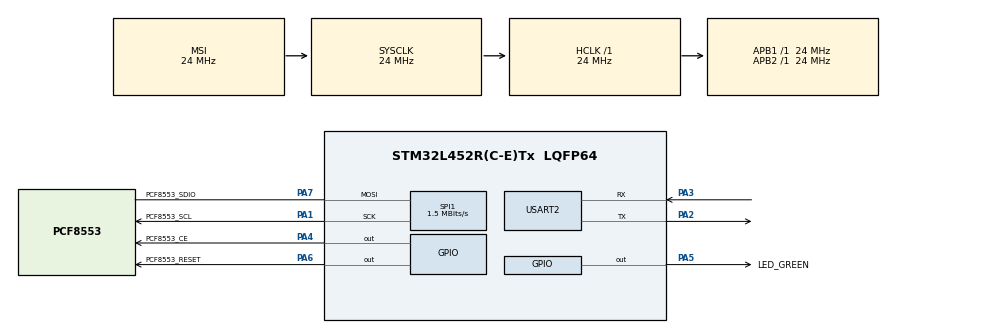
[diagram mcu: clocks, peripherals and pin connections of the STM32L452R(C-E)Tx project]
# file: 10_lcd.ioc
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Mcu.Family=STM32L4
Mcu.Name=STM32L452R(C-E)Tx
Mcu.Package=LQFP64
NVIC.PriorityGroup=NVIC_PRIORITYGROUP_4
NVIC.RTC_WKUP_IRQn=true\:0\:0\:false\:false\:true\:true\:true\:true
PA1.GPIO_Label=PCF8553_SCL
PA1.GPIO_Mode=GPIO_MODE_AF_PP
PA1.GPIO_PuPd=GPIO_NOPULL
PA1.GPIO_Speed=GPIO_SPEED_FREQ_VERY_HIGH
PA1.Mode=Simplex_Bidirectional_Master
PA1.Signal=SPI1_SCK
PA13\ (JTMS/SWDIO).Mode=Trace_Asynchronous_SW
PA13\ (JTMS/SWDIO).Signal=SYS_JTMS-SWDIO
PA14\ (JTCK/SWCLK).Mode=Trace_Asynchronous_SW
PA14\ (JTCK/SWCLK).Signal=SYS_JTCK-SWCLK
PA2.Mode=Asynchronous
PA2.Signal=USART2_TX
PA3.Mode=Asynchronous
PA3.Signal=USART2_RX
PA4.GPIO_Label=PCF8553_CE
PA4.Signal=GPIO_Output
PA5.GPIO_Label=LED_GREEN
PA5.Signal=GPIO_Output
PA6.GPIO_Label=PCF8553_RESET
PA6.Signal=GPIO_Output
PA7.GPIO_Label=PCF8553_SDIO
PA7.GPIO_Mode=GPIO_MODE_AF_PP
PA7.GPIO_PuPd=GPIO_NOPULL
PA7.GPIO_Speed=GPIO_SPEED_FREQ_VERY_HIGH
PA7.Mode=Simplex_Bidirectional_Master
PA7.Signal=SPI1_MOSI
PB3\ (JTDO/TRACESWO).Mode=Trace_Asynchronous_SW
PB3\ (JTDO/TRACESWO).Signal=SYS_JTDO-SWO
PC14-OSC32_IN\ (PC14).Mode=LSE-External-Oscillator
PC14-OSC32_IN\ (PC14).Signal=RCC_OSC32_IN
PC15-OSC32_OUT\ (PC15).Mode=LSE-External-Oscillator
PC15-OSC32_OUT\ (PC15).Signal=RCC_OSC32_OUT
ProjectManager.HeapSize=0x200
ProjectManager.StackSize=0x400
ProjectManager.TargetToolchain=STM32CubeIDE
RCC.ADCFreq_Value=96000000
RCC.AHBFreq_Value=24000000
RCC.APB1Freq_Value=24000000
RCC.APB1TimFreq_Value=24000000
RCC.APB2Freq_Value=24000000
RCC.APB2TimFreq_Value=24000000
RCC.CortexFreq_Value=24000000
RCC.HCLKFreq_Value=24000000
RCC.HSE_VALUE=8000000
RCC.HSI48_VALUE=48000000
RCC.HSI_VALUE=16000000
RCC.MSIClockRange=RCC_MSIRANGE_9
RCC.MSI_VALUE=24000000
RCC.PWR_Regulator_Voltage_Scale=PWR_REGULATOR_VOLTAGE_SCALE2
RCC.SYSCLKFreq_VALUE=24000000
RCC.USBFreq_Value=96000000
RCC.VCOOutputFreq_Value=192000000
RTC.WakeUpClock-WakeUp=RTC_WAKEUPCLOCK_RTCCLK_DIV16
RTC.WakeUpCounter-WakeUp=2048
SPI1.BaudRatePrescaler=SPI_BAUDRATEPRESCALER_16
SPI1.CalculateBaudRate=1.5 MBits/s
SPI1.DataSize=SPI_DATASIZE_8BIT
SPI1.Direction=SPI_DIRECTION_1LINE
SPI1.Mode=SPI_MODE_MASTER
SPI1.NSSPMode=SPI_NSS_PULSE_DISABLE
SPI1.VirtualType=VM_MASTER
TIM16.Prescaler=24-1
USART2.VirtualMode-Asynchronous=VM_ASYNC
VP_RTC_VS_RTC_Activate.Mode=RTC_Enabled
VP_RTC_VS_RTC_WakeUp_intern.Mode=WakeUp
VP_TIM16_VS_ClockSourceINT.Mode=Enable_Timer
board=custom

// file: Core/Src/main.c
/* USER CODE BEGIN Header */
/**
 ******************************************************************************
 * @file           : main.c
 * @brief          : Main program body
 ******************************************************************************
 * @attention
 *
 * Autor: FLOWMEET LLC
 *
 * Enero 6 2023
 *
 * Luego de crear el driver PCF8553, el modulo LCD y la API del modulo de LCD,
 * se creo este proyecto, iniciando el control de versiones, se crearon casos
 * de testeo de una manera rudimentaria, algo a a mejorar con tecnicad TDD, por
 * ahora es lo que tenemos, al corregir bugs o agregar funcionalidades de deben
 * comprobar que los casos de testeo sigan "pasando", y si es necesario hay que
 * agregar nuevos.
 *
 ******************************************************************************
 */
/* USER CODE END Header */
#include "main.h"

/* USER CODE BEGIN Includes */
#include "stdio.h"

/*
 * Solamente lcd_modeule deberi ser usada como API
 */
#include "../../../fm_lcd/pcf8553.h"
#include "../../../fm_lcd/lcd.h"
#include "../../../fm_lcd/lcd_module.h"

/* USER CODE END Includes */

RTC_HandleTypeDef hrtc;

SPI_HandleTypeDef hspi1;

TIM_HandleTypeDef htim16;

UART_HandleTypeDef huart2;

/* USER CODE BEGIN PV */
uint32_t time_start = 0;
uint32_t time_end = 0;
uint32_t time_delta = 0;

/* USER CODE END PV */

void SystemClock_Config(void);
static void MX_GPIO_Init(void);
static void MX_SPI1_Init(void);
static void MX_RTC_Init(void);
static void MX_TIM16_Init(void);
static void MX_USART2_UART_Init(void);

int main(void)
{
  /* USER CODE BEGIN 1 */
	char msg_0[20];
	char msg_1[20];
	uint8_t test = 2;

  /* USER CODE END 1 */

  /* MCU Configuration--------------------------------------------------------*/

  /* Reset of all peripherals, Initializes the Flash interface and the Systick. */
  HAL_Init();

  /* Configure the system clock */
  SystemClock_Config();

  /* Initialize all configured peripherals */
  MX_GPIO_Init();
  MX_SPI1_Init();
  MX_RTC_Init();
  MX_TIM16_Init();
  MX_USART2_UART_Init();

  /* Infinite loop */
  /* USER CODE BEGIN WHILE */

	/*
	 * AL iniciar el modulo se encienden todos los segmentos.
	 * Mantengo 1 segundo esta situacion antes de apagarlos.
	 */
	lcd_module_init();
	HAL_Delay(1000);
	pcf8553_write_all(0X00);

	HAL_RTCEx_SetWakeUpTimer_IT(&hrtc, 4096, RTC_WAKEUPCLOCK_RTCCLK_DIV16);
	HAL_TIM_Base_Start(&htim16);

	while (1)
	{
		switch (test)
		{
			/*
			 * Incremnento dos condadores, muestro cada uno en la primera
			 * y segunda linea del LCD
			 */
			case 1:
				lcd_module_puts(msg_0, sizeof(msg_0), LCD_ROW_0);
				lcd_module_puts(msg_1, sizeof(msg_1), LCD_ROW_1);
				lcd_module_refresh();
				time_start++;
				time_end++;
				HAL_Delay(1000);
			break;
				/*
				 * Se mide la costo en micro-segundos para imprimir ambas lineas del
				 * LCD.
				 * En la linea 1 se imprime el valor que tiene el timer 6 al inicio
				 * En la linea 2 se imprimen los micro-segundos consumidos.
				 */
			case 2:

				time_start = __HAL_TIM_GET_COUNTER(&htim16);

				snprintf(msg_0, sizeof(msg_0), "%08lu", time_start);
				snprintf(msg_1, sizeof(msg_1), "%07lu", time_delta);

				lcd_module_puts(msg_0, sizeof(msg_0), LCD_ROW_0);
				lcd_module_puts(msg_1, sizeof(msg_1), LCD_ROW_1);

				lcd_module_refresh();

				time_end = __HAL_TIM_GET_COUNTER(&htim16);
				time_delta = time_end - time_start;

				HAL_SuspendTick();

				/*
				 * Ingrea en stop mode 1
				 */
				HAL_PWREx_EnterSTOP2Mode(PWR_STOPENTRY_WFI); // stop1 mode

				/*
				 * Al salir del modo de bajo consumo hay que volver a configurar el clock
				 */
				SystemClock_Config();

				HAL_ResumeTick();
			break;
			default:
			break;
		}

    /* USER CODE END WHILE */

	}
}

void SystemClock_Config(void)
{
  RCC_OscInitTypeDef RCC_OscInitStruct = {0};
  RCC_ClkInitTypeDef RCC_ClkInitStruct = {0};

  /** Configure the main internal regulator output voltage
  */
  if (HAL_PWREx_ControlVoltageScaling(PWR_REGULATOR_VOLTAGE_SCALE2) != HAL_OK)
  {
    Error_Handler();
  }

  /** Configure LSE Drive Capability
  */
  HAL_PWR_EnableBkUpAccess();
  __HAL_RCC_LSEDRIVE_CONFIG(RCC_LSEDRIVE_LOW);

  /** Initializes the RCC Oscillators according to the specified parameters
  * in the RCC_OscInitTypeDef structure.
  */
  RCC_OscInitStruct.OscillatorType = RCC_OSCILLATORTYPE_LSI|RCC_OSCILLATORTYPE_LSE
                              |RCC_OSCILLATORTYPE_MSI;
  RCC_OscInitStruct.LSEState = RCC_LSE_ON;
  RCC_OscInitStruct.LSIState = RCC_LSI_ON;
  RCC_OscInitStruct.MSIState = RCC_MSI_ON;
  RCC_OscInitStruct.MSICalibrationValue = 0;
  RCC_OscInitStruct.MSIClockRange = RCC_MSIRANGE_9;
  RCC_OscInitStruct.PLL.PLLState = RCC_PLL_NONE;
  if (HAL_RCC_OscConfig(&RCC_OscInitStruct) != HAL_OK)
  {
    Error_Handler();
  }

  /** Initializes the CPU, AHB and APB buses clocks
  */
  RCC_ClkInitStruct.ClockType = RCC_CLOCKTYPE_HCLK|RCC_CLOCKTYPE_SYSCLK
                              |RCC_CLOCKTYPE_PCLK1|RCC_CLOCKTYPE_PCLK2;
  RCC_ClkInitStruct.SYSCLKSource = RCC_SYSCLKSOURCE_MSI;
  RCC_ClkInitStruct.AHBCLKDivider = RCC_SYSCLK_DIV1;
  RCC_ClkInitStruct.APB1CLKDivider = RCC_HCLK_DIV1;
  RCC_ClkInitStruct.APB2CLKDivider = RCC_HCLK_DIV1;

  if (HAL_RCC_ClockConfig(&RCC_ClkInitStruct, FLASH_LATENCY_4) != HAL_OK)
  {
    Error_Handler();
  }

  /** Enable MSI Auto calibration
  */
  HAL_RCCEx_EnableMSIPLLMode();
}

static void MX_RTC_Init(void)
{

  /** Initialize RTC Only
  */
  hrtc.Instance = RTC;
  hrtc.Init.HourFormat = RTC_HOURFORMAT_24;
  hrtc.Init.AsynchPrediv = 127;
  hrtc.Init.SynchPrediv = 255;
  hrtc.Init.OutPut = RTC_OUTPUT_DISABLE;
  hrtc.Init.OutPutRemap = RTC_OUTPUT_REMAP_NONE;
  hrtc.Init.OutPutPolarity = RTC_OUTPUT_POLARITY_HIGH;
  hrtc.Init.OutPutType = RTC_OUTPUT_TYPE_OPENDRAIN;
  if (HAL_RTC_Init(&hrtc) != HAL_OK)
  {
    Error_Handler();
  }

  /** Enable the WakeUp
  */
  if (HAL_RTCEx_SetWakeUpTimer_IT(&hrtc, 2048, RTC_WAKEUPCLOCK_RTCCLK_DIV16) != HAL_OK)
  {
    Error_Handler();
  }

}

static void MX_SPI1_Init(void)
{

  /* SPI1 parameter configuration*/
  hspi1.Instance = SPI1;
  hspi1.Init.Mode = SPI_MODE_MASTER;
  hspi1.Init.Direction = SPI_DIRECTION_1LINE;
  hspi1.Init.DataSize = SPI_DATASIZE_8BIT;
  hspi1.Init.CLKPolarity = SPI_POLARITY_LOW;
  hspi1.Init.CLKPhase = SPI_PHASE_1EDGE;
  hspi1.Init.NSS = SPI_NSS_SOFT;
  hspi1.Init.BaudRatePrescaler = SPI_BAUDRATEPRESCALER_16;
  hspi1.Init.FirstBit = SPI_FIRSTBIT_MSB;
  hspi1.Init.TIMode = SPI_TIMODE_DISABLE;
  hspi1.Init.CRCCalculation = SPI_CRCCALCULATION_DISABLE;
  hspi1.Init.CRCPolynomial = 7;
  hspi1.Init.CRCLength = SPI_CRC_LENGTH_DATASIZE;
  hspi1.Init.NSSPMode = SPI_NSS_PULSE_DISABLE;
  if (HAL_SPI_Init(&hspi1) != HAL_OK)
  {
    Error_Handler();
  }

}

static void MX_TIM16_Init(void)
{

  htim16.Instance = TIM16;
  htim16.Init.Prescaler = 24-1;
  htim16.Init.CounterMode = TIM_COUNTERMODE_UP;
  htim16.Init.Period = 65535;
  htim16.Init.ClockDivision = TIM_CLOCKDIVISION_DIV1;
  htim16.Init.RepetitionCounter = 0;
  htim16.Init.AutoReloadPreload = TIM_AUTORELOAD_PRELOAD_DISABLE;
  if (HAL_TIM_Base_Init(&htim16) != HAL_OK)
  {
    Error_Handler();
  }

}

static void MX_USART2_UART_Init(void)
{

  huart2.Instance = USART2;
  huart2.Init.BaudRate = 115200;
  huart2.Init.WordLength = UART_WORDLENGTH_8B;
  huart2.Init.StopBits = UART_STOPBITS_1;
  huart2.Init.Parity = UART_PARITY_NONE;
  huart2.Init.Mode = UART_MODE_TX_RX;
  huart2.Init.HwFlowCtl = UART_HWCONTROL_NONE;
  huart2.Init.OverSampling = UART_OVERSAMPLING_16;
  huart2.Init.OneBitSampling = UART_ONE_BIT_SAMPLE_DISABLE;
  huart2.AdvancedInit.AdvFeatureInit = UART_ADVFEATURE_NO_INIT;
  if (HAL_UART_Init(&huart2) != HAL_OK)
  {
    Error_Handler();
  }

}

static void MX_GPIO_Init(void)
{
  GPIO_InitTypeDef GPIO_InitStruct = {0};

  /* GPIO Ports Clock Enable */
  __HAL_RCC_GPIOC_CLK_ENABLE();
  __HAL_RCC_GPIOA_CLK_ENABLE();
  __HAL_RCC_GPIOB_CLK_ENABLE();

  /*Configure GPIO pin Output Level */
  HAL_GPIO_WritePin(GPIOA, PCF8553_CE_Pin|LED_GREEN_Pin|PCF8553_RESET_Pin, GPIO_PIN_RESET);

  /*Configure GPIO pins : PCF8553_CE_Pin LED_GREEN_Pin PCF8553_RESET_Pin */
  GPIO_InitStruct.Pin = PCF8553_CE_Pin|LED_GREEN_Pin|PCF8553_RESET_Pin;
  GPIO_InitStruct.Mode = GPIO_MODE_OUTPUT_PP;
  GPIO_InitStruct.Pull = GPIO_NOPULL;
  GPIO_InitStruct.Speed = GPIO_SPEED_FREQ_LOW;
  HAL_GPIO_Init(GPIOA, &GPIO_InitStruct);

}

void Error_Handler(void)
{
	__disable_irq();
	while (1)
	{
	}
}
